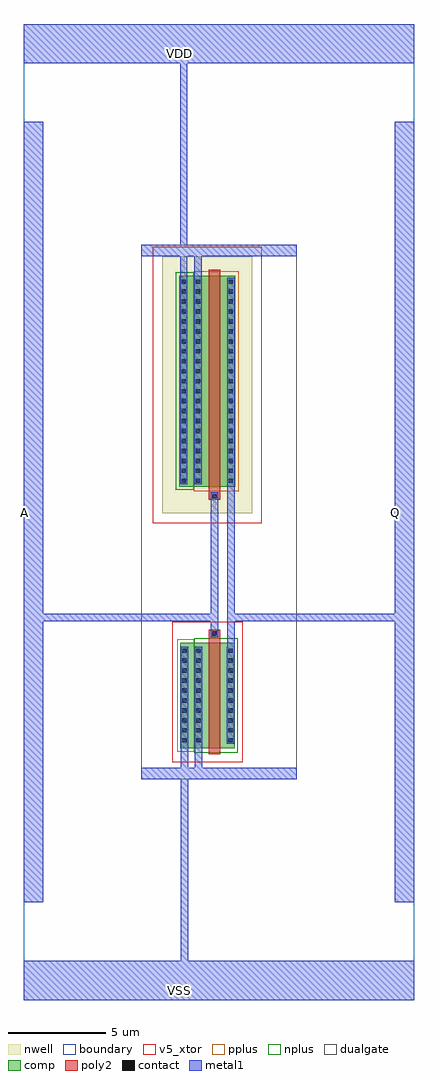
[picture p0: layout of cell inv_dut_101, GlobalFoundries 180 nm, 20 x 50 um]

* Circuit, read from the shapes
.subckt inv_dut_101 A Q VDD VSS
XM1 Q A VSS VSS nfet_05v0 w=5.4u l=0.6u
XM2 Q A VDD VDD pfet_05v0 w=10.8u l=0.6u
.ends

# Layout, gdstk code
import gdstk
lib = gdstk.Library(unit=1e-6, precision=1e-09)
def R(c, l, rs):  # rectangles x0, y0, x1, y1
    for r in rs: c.add(gdstk.rectangle(r[:2], r[2:], *l))
def A(c, l, x, y, w, h, nx, ny, dx, dy):  # array of equal rectangles
    R(c, l, [(x+i*dx, y+j*dy, x+i*dx+w, y+j*dy+h) for i in range(nx) for j in range(ny)])
boundary = (0, 0)
nwell = (21, 0)
comp = (22, 0)
poly2 = (30, 0)
pplus = (31, 0)
nplus = (32, 0)
contact = (33, 0)
metal1 = (34, 0)
dualgate = (55, 0)
v5_xtor = (112, 1)

inv_dut_101 = lib.new_cell('inv_dut_101')
R(inv_dut_101, boundary, [(-10,-25,10,25)])
R(inv_dut_101, nwell, [(-2.895,-0.07,1.695,13.09)])
R(inv_dut_101, comp, [(-1.975,-12.1,0.795,-6.7), (-2.035,1.3,0.835,12.1)])
R(inv_dut_101, poly2, [(-0.535,-12.4,0.065,-6.04), (-0.535,0.62,0.065,12.4)])
R(inv_dut_101, pplus, [(-2.145,-12.27,-1.265,-6.53), (-1.305,1.06,1.005,12.34)])
R(inv_dut_101, nplus, [(-1.265,-12.34,0.965,-6.46), (-2.205,1.13,-1.305,12.27)])
A(inv_dut_101, contact, -1.875, -11.805, 0.22, 0.22, 1, 10, 0, 0.51)
A(inv_dut_101, contact, -1.165, -11.805, 0.22, 0.22, 1, 10, 0, 0.51)
A(inv_dut_101, contact, 0.475, -11.805, 0.22, 0.22, 1, 10, 0, 0.51)
A(inv_dut_101, contact, -1.915, 1.49, 0.22, 0.22, 1, 21, 0, 0.51)
A(inv_dut_101, contact, -1.185, 1.49, 0.22, 0.22, 1, 21, 0, 0.51)
A(inv_dut_101, contact, 0.495, 1.49, 0.22, 0.22, 1, 21, 0, 0.51)
R(inv_dut_101, contact, [(-0.345,-6.33,-0.125,-6.11), (-0.345,0.7,-0.125,0.92)])
R(inv_dut_101, metal1, [(-10,-25,10,-23), (-1.955,-23,-1.575,-13.4), (-10,-20,-9,20), (9,-20,10,20), (-3.995,-13.7,3.995,-13.1), (-1.955,-13.7,-1.575,-6.915), (-1.245,-13.7,-0.865,-6.915), (-1.955,-11.885,-1.575,-6.915), (-1.245,-11.885,-0.865,-6.915), (0.395,-11.885,0.775,-6.915), (0.395,-7.295,0.795,-6.915), (0.415,-7.295,0.795,1.79), (-0.425,-6.41,-0.045,1), (-0.425,-6.41,-0.045,-6.03), (-9,-5.6,-3.695,-5.2), (-3.995,-5.6,-0.045,-5.2), (0.415,-5.6,3.995,-5.2), (3.695,-5.6,9,-5.2), (-0.425,0.62,-0.045,1), (-1.995,1.41,-1.615,13.7), (-1.995,1.41,-1.615,11.99), (-1.265,1.41,-0.885,13.7), (-1.265,1.41,-0.885,11.99), (0.415,1.41,0.795,1.79), (0.415,1.41,0.795,11.99), (-3.995,13.1,3.995,13.7), (-1.995,13.4,-1.615,23), (-10,23,10,25)])
R(inv_dut_101, dualgate, [(-3.995,-13.7,3.995,13.7), (-2.395,-12.81,1.215,-5.62), (-3.395,-0.57,2.195,13.59)])
R(inv_dut_101, v5_xtor, [(-2.395,-12.81,1.215,-5.62), (-3.395,-0.57,2.195,13.59)])
inv_dut_101.add(gdstk.Label('VDD', (-2,23.5), layer=34, texttype=10))
inv_dut_101.add(gdstk.Label('VSS', (-2,-24.5), layer=34, texttype=10))
inv_dut_101.add(gdstk.Label('A', (-9.97,0), layer=34, texttype=10))
inv_dut_101.add(gdstk.Label('Q', (9.03,0), layer=34, texttype=10))

lib.write_gds('inv_dut_101.gds')
